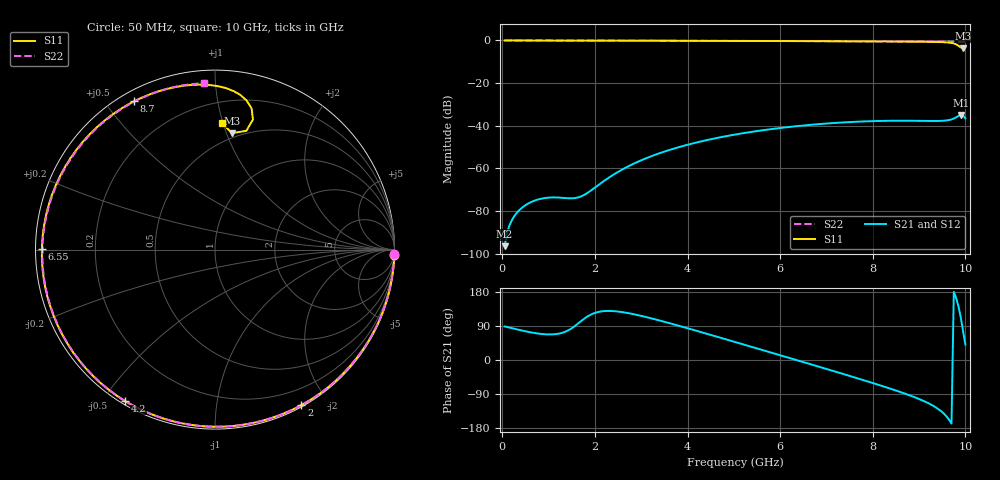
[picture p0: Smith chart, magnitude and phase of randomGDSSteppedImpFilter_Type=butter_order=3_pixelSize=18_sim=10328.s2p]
! freq	dB(S11)	phase(S11)	dB(S12)	phase(S12)
!  dB(S21)	phase(S21)	dB(S22)	phase(S22)
!S-par simulation data
#  GHz  S  DB  R 50
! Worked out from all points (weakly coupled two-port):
!   200 points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, 50 MHz to 10 GHz, reference 50 ohm
!   highest |S21| = -34.87 dB at 9.9 GHz (marker M1); lowest = -96.5 dB at 50 MHz (marker M2)
!   lowest |S11| = -3.7 dB at 9.95 GHz (marker M3), VSWR 4.80, Z = 23 + j52.3 ohm
!   |S11| at or under -10 dB: nowhere
!   |S22| runs from -0.6 to 0.0 dB; largest |S21 - S12| = 0
!   S11 on the Smith chart (normalised r, x): 50 MHz: 0, -72; 2 GHz: 0.02, -1.70; 4.2 GHz: 0.01, -0.57; 6.55 GHz: 0.02, +0.00; 8.7 GHz: 0.04, +0.59; 10 GHz: 0.35, +0.99
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0.05  -0.00 -1.6  -96.45 88.6  -96.45 88.6  -0.00 -1.5
0.35  -0.02 -11.0  -79.94 79.8  -79.94 79.8  -0.01 -10.3
0.55  -0.02 -17.2  -76.57 74.5  -76.57 74.5  -0.02 -16.1
0.85  -0.03 -26.5  -74.14 68.7  -74.14 68.7  -0.03 -24.7
1.55  -0.06 -47.7  -73.95 88.1  -73.95 88.1  -0.06 -44.6
1.75  -0.07 -53.6  -72.62 107.3  -72.62 107.3  -0.06 -50.2
2  -0.08 -60.9  -69.00 124.2  -69.00 124.2  -0.07 -57.0
2.65  -0.10 -79.4  -59.80 125.2  -59.80 125.2  -0.09 -74.4
3.4  -0.13 -99.8  -52.83 104.2  -52.83 104.2  -0.12 -93.6
4.2  -0.16 -120.6  -47.81 76.9  -47.81 76.9  -0.15 -113.3
5.05  -0.21 -142.1  -44.03 46.7  -44.03 46.7  -0.20 -133.6
5.8  -0.26 -161.0  -41.58 19.8  -41.58 19.8  -0.24 -151.3
6.55  -0.31 179.9  -39.77 -7.3  -39.77 -7.3  -0.30 -169.2
6.7  -0.33 175.9  -39.47 -12.7  -39.47 -12.7  -0.31 -172.8
7.55  -0.40 152.9  -38.21 -43.8  -38.21 -43.8  -0.38 166.0
8.35  -0.48 129.5  -37.66 -74.4  -37.66 -74.4  -0.46 144.6
8.7  -0.53 118.6  -37.63 -88.9  -37.63 -88.9  -0.49 134.6
9.55  -0.84 87.9  -37.60 -143.3  -37.60 -143.3  -0.58 108.6
9.8  -1.81 75.5  -36.04 163.5  -36.04 163.5  -0.61 100.4
9.9  -3.29 75.2  -34.87 112.1  -34.87 112.1  -0.63 97.2
9.95  -3.67 81.7  -35.17 76.2  -35.17 76.2  -0.63 95.6
10  -2.99 87.0  -36.53 40.5  -36.53 40.5  -0.63 93.9
